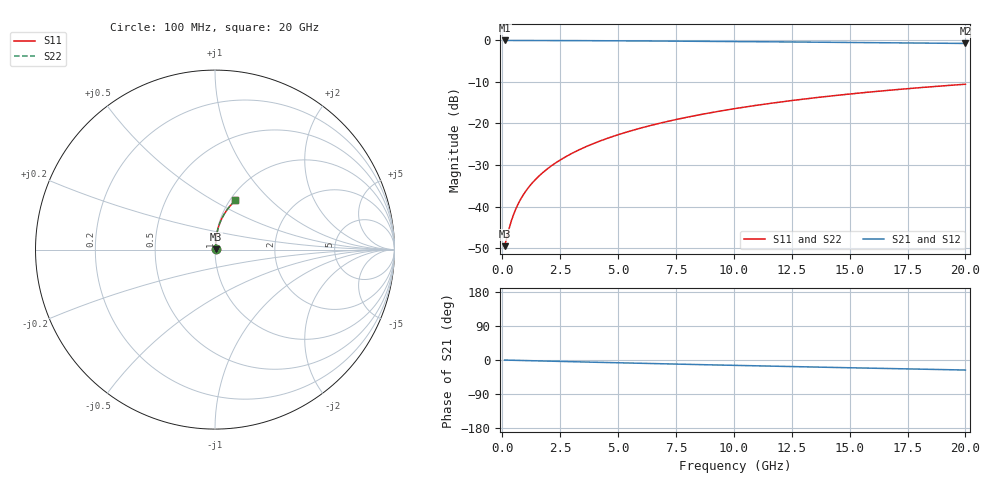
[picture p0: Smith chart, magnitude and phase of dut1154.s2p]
! Touchstone file exported from HFSS 2024.1.0
!  File:  C:/UserFiles/LocalFiles/RDL_TSV_Batchsim/temp_RDL_bottom_1154_1780056172.aedt
!  Generated:  08:05:14 PM May 29, 2026
!  Design:  RDL_bottom
!  Project:  temp_RDL_bottom_1154_1780056172
!  Setup:  Setup1
!  Solution:  Sweep
! Variables:
!  dtsv = 10.80580581um
!  hbump = 3um
!  htsv = 98.6um
!  ldown = 321.52um
!  lrdl = 100um
!  p = 40
!  p1 = 48.53um
!  rhole = 1um
!  t = 450um
!  tdown = 2.34um
!  trdl = 3.915915916um
!  wdown = 18.24um
!  wrdl = 20um
# GHz S MA R 50.000000
! Terminal data exported
! Port[1] = RDL1_T1
! Port[2] = RDL1_T2
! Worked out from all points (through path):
!   200 points, 100 MHz to 20 GHz, reference 50 ohm
!   highest |S21| = -0.03 dB at 100 MHz (marker M1); lowest = -0.7 dB at 20 GHz (marker M2)
!   group delay of S21, straight-line fit = 3.66 ps
!   lowest |S11| = -49.5 dB at 100 MHz (marker M3), VSWR 1.01, Z = 50.3 + j0.155 ohm
!   |S11| at or under -10 dB: start of sweep to end of sweep
!   |S22| runs from -49.5 to -10.6 dB; largest |S21 - S12| = 3.4e-15
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0.1  0.003334 27.5  0.997 -0.2  0.997 -0.2  0.003334 27.5
! Gamma 0 0 0 0
! Port Impedance 50 0 50 0
0.3  0.005515 56.1  0.9969 -0.5  0.9969 -0.5  0.005515 56.1
0.4  0.006839 62.5  0.9968 -0.6  0.9968 -0.6  0.006839 62.5
0.5  0.008202 66.7  0.9967 -0.8  0.9967 -0.8  0.008203 66.7
0.6  0.009581 69.7  0.9966 -0.9  0.9966 -0.9  0.009582 69.7
0.7  0.01096 71.8  0.9964 -1.1  0.9964 -1.1  0.01097 71.9
0.9  0.01374 74.9  0.9962 -1.4  0.9962 -1.4  0.01374 74.9
1.2  0.01791 77.9  0.9959 -1.8  0.9959 -1.8  0.01791 77.9
1.4  0.0207 79.2  0.9956 -2.1  0.9956 -2.1  0.0207 79.2
1.7  0.02492 80.6  0.9952 -2.5  0.9952 -2.5  0.02492 80.6
2.2  0.03202 82.1  0.9944 -3.3  0.9944 -3.3  0.03202 82.1
2.8  0.04064 83.1  0.9933 -4.2  0.9933 -4.2  0.04064 83.1
3.5  0.05084 83.7  0.9917 -5.2  0.9917 -5.2  0.05084 83.7
4.2  0.06117 83.9  0.9899 -6.2  0.9899 -6.2  0.06117 83.9
5  0.07314 83.7  0.9874 -7.3  0.9874 -7.3  0.07314 83.8
5.9  0.08678 83.4  0.9844 -8.6  0.9844 -8.6  0.08679 83.4
6.8  0.1006 82.8  0.9811 -9.8  0.9811 -9.8  0.1006 82.8
8.4  0.1253 81.4  0.9747 -12.0  0.9747 -12.0  0.1253 81.4
10.1  0.1517 79.6  0.9673 -14.3  0.9673 -14.3  0.1517 79.6
13.4  0.2022 75.6  0.9518 -18.5  0.9518 -18.5  0.2022 75.6
16.7  0.2507 71.5  0.9352 -22.6  0.9352 -22.6  0.2507 71.5
20  0.2965 67.4  0.9178 -26.5  0.9178 -26.5  0.2965 67.4
